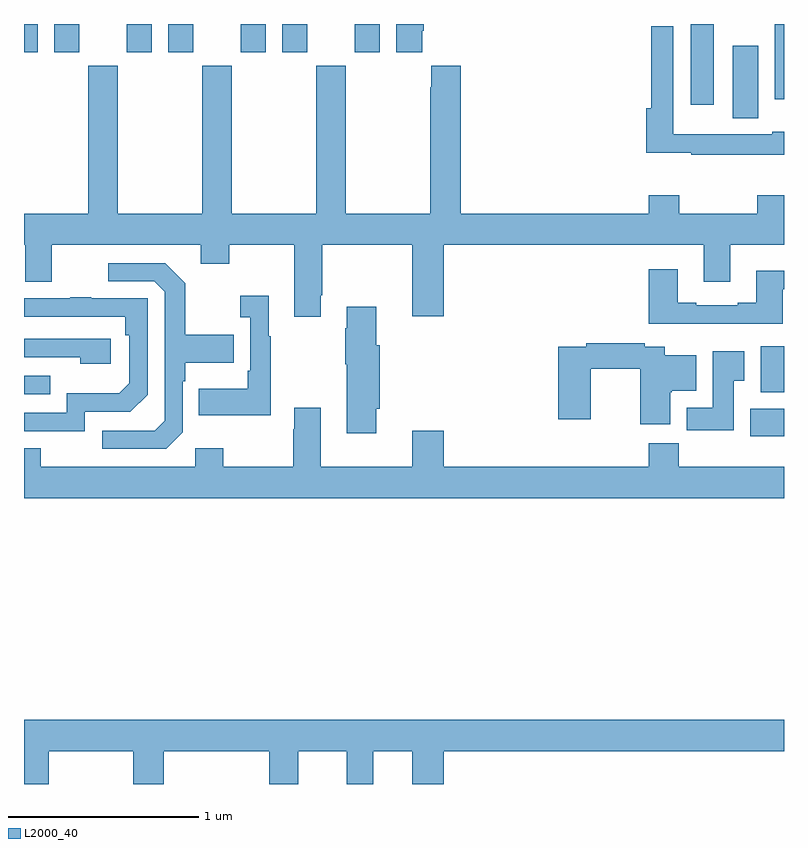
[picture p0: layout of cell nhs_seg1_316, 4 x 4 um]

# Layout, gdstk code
import gdstk
lib = gdstk.Library(unit=1e-6, precision=1e-09)
def R(c, l, rs):  # rectangles x0, y0, x1, y1
    for r in rs: c.add(gdstk.rectangle(r[:2], r[2:], *l))
def P(c, l, *ps):  # polygons
    for p in ps: c.add(gdstk.Polygon(p, *l))
L2000_40 = (2000, 40)

nhs_seg1_316 = lib.new_cell('nhs_seg1_316')
R(nhs_seg1_316, L2000_40, [(130.823,580.028,131,580.174), (127,580.251,127.139,580.347), (130.877,580.262,131,580.504), (130.73,581.704,130.864,582.085), (130.508,581.775,130.63,582.199), (130.952,581.802,131,582.199), (127,582.051,127.072,582.199), (127.16,582.051,127.291,582.199), (127.541,582.051,127.672,582.199), (127.76,582.051,127.891,582.199), (128.141,582.051,128.272,582.199), (128.36,582.051,128.491,582.199), (128.741,582.051,128.872,582.199)])
P(nhs_seg1_316, L2000_40, [(129.097,582.163),(129.104,582.163),(129.104,582.199),(128.96,582.199),(128.96,582.051),(129.097,582.051)],
  [(131,581.632),(130.938,581.632),(130.938,581.619),(130.626,581.619),(130.626,581.62),(130.416,581.62),(130.416,582.187),(130.3,582.187),(130.3,581.755),(130.274,581.755),(130.274,581.521),(130.513,581.521),(130.513,581.511),(130.838,581.511),(130.838,581.51),(131,581.51)],
  [(128.563,580.771),(128.571,580.771),(128.571,581.036),(129.044,581.036),(129.044,580.662),(129.208,580.662),(129.208,581.036),(130.577,581.036),(130.577,580.842),(130.717,580.842),(130.717,581.036),(131,581.036),(131,581.299),(130.858,581.299),(130.858,581.2),(130.449,581.2),(130.449,581.299),(130.289,581.299),(130.289,581.2),(129.299,581.2),(129.299,581.98),(129.143,581.98),(129.143,581.867),(129.139,581.867),(129.139,581.2),(128.694,581.2),(128.694,581.98),(128.539,581.98),(128.539,581.2),(128.094,581.2),(128.094,581.98),(127.939,581.98),(127.939,581.2),(127.494,581.2),(127.494,581.98),(127.339,581.98),(127.339,581.2),(127,581.2),(127,581.036),(127.007,581.036),(127.007,580.842),(127.147,580.842),(127.147,581.036),(127.931,581.036),(127.931,580.937),(128.079,580.937),(128.079,581.036),(128.423,581.036),(128.423,580.659),(128.563,580.659)],
  [(127.836,580.05),(127.836,580.319),(127.849,580.319),(127.849,580.415),(128.105,580.415),(128.105,580.563),(127.849,580.563),(127.849,580.835),(127.743,580.941),(127.443,580.941),(127.443,580.845),(127.686,580.845),(127.74,580.791),(127.74,580.11),(127.689,580.059),(127.413,580.059),(127.413,579.963),(127.749,579.963)],
  [(130.993,580.803),(131,580.803),(131,580.9),(130.853,580.9),(130.853,580.732),(130.757,580.732),(130.757,580.719),(130.537,580.719),(130.537,580.732),(130.441,580.732),(130.441,580.909),(130.289,580.909),(130.289,580.622),(130.993,580.622)],
  [(128.299,580.555),(128.287,580.555),(128.287,580.768),(128.139,580.768),(128.139,580.655),(128.19,580.655),(128.19,580.375),(128.178,580.375),(128.178,580.279),(127.921,580.279),(127.921,580.139),(128.299,580.139)],
  [(127.32,580.158),(127.56,580.158),(127.65,580.248),(127.65,580.755),(127.355,580.755),(127.355,580.76),(127.243,580.76),(127.243,580.755),(127,580.755),(127,580.659),(127.534,580.659),(127.534,580.562),(127.554,580.562),(127.554,580.308),(127.501,580.255),(127.224,580.255),(127.224,580.152),(127,580.152),(127,580.056),(127.32,580.056)],
  [(128.854,580.173),(128.872,580.173),(128.872,580.509),(128.854,580.509),(128.854,580.711),(128.699,580.711),(128.699,580.598),(128.692,580.598),(128.692,580.409),(128.699,580.409),(128.699,580.044),(128.854,580.044)],
  [(127.456,580.542),(127,580.542),(127,580.446),(127.295,580.446),(127.295,580.412),(127.456,580.412)],
  [(130.402,580.262),(130.408,580.262),(130.408,580.268),(130.537,580.268),(130.537,580.456),(130.372,580.456),(130.372,580.5),(130.268,580.5),(130.268,580.52),(129.958,580.52),(129.958,580.5),(129.812,580.5),(129.812,580.119),(129.982,580.119),(129.982,580.384),(130.244,580.384),(130.244,580.092),(130.402,580.092)],
  [(130.735,580.321),(130.792,580.321),(130.792,580.477),(130.625,580.477),(130.625,580.18),(130.487,580.18),(130.487,580.062),(130.735,580.062)],
  [(131,579.868),(130.445,579.868),(130.445,579.992),(130.289,579.992),(130.289,579.868),(129.208,579.868),(129.208,580.057),(129.044,580.057),(129.044,579.868),(128.563,579.868),(128.563,580.18),(128.423,580.18),(128.423,580.067),(128.416,580.067),(128.416,579.868),(128.049,579.868),(128.049,579.967),(127.902,579.967),(127.902,579.868),(127.089,579.868),(127.089,579.967),(127,579.967),(127,579.704),(131,579.704)],
  [(127.131,578.372),(127.576,578.372),(127.576,578.199),(127.736,578.199),(127.736,578.372),(128.291,578.372),(128.291,578.199),(128.443,578.199),(128.443,578.372),(128.699,578.372),(128.699,578.199),(128.839,578.199),(128.839,578.372),(129.044,578.372),(129.044,578.199),(129.208,578.199),(129.208,578.372),(131,578.372),(131,578.536),(127,578.536),(127,578.199),(127.131,578.199)])

lib.write_gds('nhs_seg1_316.gds')
